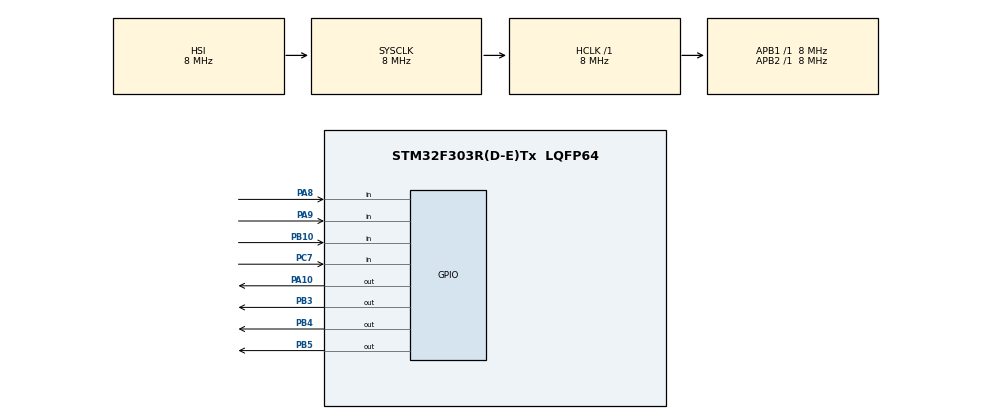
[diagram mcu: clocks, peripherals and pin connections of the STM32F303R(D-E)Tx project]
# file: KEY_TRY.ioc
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Mcu.Family=STM32F3
Mcu.Name=STM32F303R(D-E)Tx
Mcu.Package=LQFP64
NVIC.PriorityGroup=NVIC_PRIORITYGROUP_4
PA10.GPIO_PuPd=GPIO_NOPULL
PA10.Signal=GPIO_Output
PA8.GPIO_PuPd=GPIO_PULLDOWN
PA8.Signal=GPIO_Input
PA9.GPIO_PuPd=GPIO_PULLDOWN
PA9.Signal=GPIO_Input
PB10.GPIO_PuPd=GPIO_PULLDOWN
PB10.Signal=GPIO_Input
PB3.GPIO_PuPd=GPIO_NOPULL
PB3.Signal=GPIO_Output
PB4.GPIO_PuPd=GPIO_NOPULL
PB4.Signal=GPIO_Output
PB5.GPIO_PuPd=GPIO_NOPULL
PB5.Signal=GPIO_Output
PC7.GPIO_PuPd=GPIO_PULLDOWN
PC7.Signal=GPIO_Input
ProjectManager.HeapSize=0x200
ProjectManager.StackSize=0x400
ProjectManager.TargetToolchain=MDK-ARM V5
RCC.AHBFreq_Value=8000000
RCC.APB1Freq_Value=8000000
RCC.APB2Freq_Value=8000000
RCC.CortexFreq_Value=8000000
RCC.HSE_VALUE=8000000
RCC.HSI_VALUE=8000000
RCC.LSE_VALUE=32768
RCC.SYSCLKFreq_VALUE=8000000
RCC.USBFreq_Value=16000000
board=custom

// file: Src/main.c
/* USER CODE BEGIN Header */
/**
  ******************************************************************************
  * @file           : main.c
  * @brief          : Main program body
  ******************************************************************************
  ** This notice applies to any and all portions of this file
  * that are not between comment pairs USER CODE BEGIN and
  * USER CODE END. Other portions of this file, whether
  * inserted by the user or by software development tools
  * are owned by their respective copyright owners.
  *
  * COPYRIGHT(c) 2019 STMicroelectronics
  *
  * Redistribution and use in source and binary forms, with or without modification,
  * are permitted provided that the following conditions are met:
  *   1. Redistributions of source code must retain the above copyright notice,
  *      this list of conditions and the following disclaimer.
  *   2. Redistributions in binary form must reproduce the above copyright notice,
  *      this list of conditions and the following disclaimer in the documentation
  *      and/or other materials provided with the distribution.
  *   3. Neither the name of STMicroelectronics nor the names of its contributors
  *      may be used to endorse or promote products derived from this software
  *      without specific prior written permission.
  *
  * THIS SOFTWARE IS PROVIDED BY THE COPYRIGHT HOLDERS AND CONTRIBUTORS "AS IS"
  * AND ANY EXPRESS OR IMPLIED WARRANTIES, INCLUDING, BUT NOT LIMITED TO, THE
  * IMPLIED WARRANTIES OF MERCHANTABILITY AND FITNESS FOR A PARTICULAR PURPOSE ARE
  * DISCLAIMED. IN NO EVENT SHALL THE COPYRIGHT HOLDER OR CONTRIBUTORS BE LIABLE
  * FOR ANY DIRECT, INDIRECT, INCIDENTAL, SPECIAL, EXEMPLARY, OR CONSEQUENTIAL
  * DAMAGES (INCLUDING, BUT NOT LIMITED TO, PROCUREMENT OF SUBSTITUTE GOODS OR
  * SERVICES; LOSS OF USE, DATA, OR PROFITS; OR BUSINESS INTERRUPTION) HOWEVER
  * CAUSED AND ON ANY THEORY OF LIABILITY, WHETHER IN CONTRACT, STRICT LIABILITY,
  * OR TORT (INCLUDING NEGLIGENCE OR OTHERWISE) ARISING IN ANY WAY OUT OF THE USE
  * OF THIS SOFTWARE, EVEN IF ADVISED OF THE POSSIBILITY OF SUCH DAMAGE.
  *
  ******************************************************************************
  */
/* USER CODE END Header */

#include "main.h"

/* USER CODE BEGIN Includes */
#include "MY_Keypad4x4.h"
#include <stdbool.h>
/* USER CODE END Includes */

void SystemClock_Config(void);
static void MX_GPIO_Init(void);

/* USER CODE BEGIN 0 */
bool mySwitches[16];

/* USER CODE END 0 */

int main(void)
{
  /* USER CODE BEGIN 1 */
Keypad_WiresTypeDef myKeypadStruct;
  /* USER CODE END 1 */

  /* MCU Configuration--------------------------------------------------------*/

  /* Reset of all peripherals, Initializes the Flash interface and the Systick. */
  HAL_Init();

  /* Configure the system clock */
  SystemClock_Config();

  /* Initialize all configured peripherals */
  MX_GPIO_Init();
  /* USER CODE BEGIN 2 */
myKeypadStruct.IN0_Port = GPIOB;
myKeypadStruct.IN1_Port = GPIOA;
myKeypadStruct.IN2_Port = GPIOA;
myKeypadStruct.IN3_Port = GPIOC;

myKeypadStruct.OUT0_Port = GPIOA;
myKeypadStruct.OUT1_Port = GPIOB;
myKeypadStruct.OUT2_Port = GPIOB;
myKeypadStruct.OUT3_Port = GPIOB;

myKeypadStruct.IN0pin = GPIO_PIN_10;
myKeypadStruct.IN1pin = GPIO_PIN_8;
myKeypadStruct.IN2pin = GPIO_PIN_9;
myKeypadStruct.IN3pin = GPIO_PIN_7;
myKeypadStruct.OUT0pin = GPIO_PIN_10;
myKeypadStruct.OUT1pin = GPIO_PIN_3;
myKeypadStruct.OUT2pin = GPIO_PIN_5;
myKeypadStruct.OUT3pin = GPIO_PIN_4;

Keypad4x4_Init(&myKeypadStruct);
  /* USER CODE END 2 */

  /* Infinite loop */
  while (1)
  {

    /* USER CODE BEGIN 3 */
		Keypad4x4_ReadKeypad(mySwitches);
		HAL_Delay(100);
  }
  /* USER CODE END 3 */
}

void SystemClock_Config(void)
{
  RCC_OscInitTypeDef RCC_OscInitStruct = {0};
  RCC_ClkInitTypeDef RCC_ClkInitStruct = {0};

  /**Initializes the CPU, AHB and APB busses clocks
  */
  RCC_OscInitStruct.OscillatorType = RCC_OSCILLATORTYPE_HSI;
  RCC_OscInitStruct.HSIState = RCC_HSI_ON;
  RCC_OscInitStruct.HSICalibrationValue = RCC_HSICALIBRATION_DEFAULT;
  RCC_OscInitStruct.PLL.PLLState = RCC_PLL_NONE;
  if (HAL_RCC_OscConfig(&RCC_OscInitStruct) != HAL_OK)
  {
    Error_Handler();
  }
  /**Initializes the CPU, AHB and APB busses clocks
  */
  RCC_ClkInitStruct.ClockType = RCC_CLOCKTYPE_HCLK|RCC_CLOCKTYPE_SYSCLK
                              |RCC_CLOCKTYPE_PCLK1|RCC_CLOCKTYPE_PCLK2;
  RCC_ClkInitStruct.SYSCLKSource = RCC_SYSCLKSOURCE_HSI;
  RCC_ClkInitStruct.AHBCLKDivider = RCC_SYSCLK_DIV1;
  RCC_ClkInitStruct.APB1CLKDivider = RCC_HCLK_DIV1;
  RCC_ClkInitStruct.APB2CLKDivider = RCC_HCLK_DIV1;

  if (HAL_RCC_ClockConfig(&RCC_ClkInitStruct, FLASH_LATENCY_0) != HAL_OK)
  {
    Error_Handler();
  }
}

static void MX_GPIO_Init(void)
{
  GPIO_InitTypeDef GPIO_InitStruct = {0};

  /* GPIO Ports Clock Enable */
  __HAL_RCC_GPIOB_CLK_ENABLE();
  __HAL_RCC_GPIOC_CLK_ENABLE();
  __HAL_RCC_GPIOA_CLK_ENABLE();

  /*Configure GPIO pin Output Level */
  HAL_GPIO_WritePin(GPIOA, GPIO_PIN_10, GPIO_PIN_RESET);

  /*Configure GPIO pin Output Level */
  HAL_GPIO_WritePin(GPIOB, GPIO_PIN_3|GPIO_PIN_4|GPIO_PIN_5, GPIO_PIN_RESET);

  /*Configure GPIO pin : PB10 */
  GPIO_InitStruct.Pin = GPIO_PIN_10;
  GPIO_InitStruct.Mode = GPIO_MODE_INPUT;
  GPIO_InitStruct.Pull = GPIO_PULLDOWN;
  HAL_GPIO_Init(GPIOB, &GPIO_InitStruct);

  /*Configure GPIO pin : PC7 */
  GPIO_InitStruct.Pin = GPIO_PIN_7;
  GPIO_InitStruct.Mode = GPIO_MODE_INPUT;
  GPIO_InitStruct.Pull = GPIO_PULLDOWN;
  HAL_GPIO_Init(GPIOC, &GPIO_InitStruct);

  /*Configure GPIO pins : PA8 PA9 */
  GPIO_InitStruct.Pin = GPIO_PIN_8|GPIO_PIN_9;
  GPIO_InitStruct.Mode = GPIO_MODE_INPUT;
  GPIO_InitStruct.Pull = GPIO_PULLDOWN;
  HAL_GPIO_Init(GPIOA, &GPIO_InitStruct);

  /*Configure GPIO pin : PA10 */
  GPIO_InitStruct.Pin = GPIO_PIN_10;
  GPIO_InitStruct.Mode = GPIO_MODE_OUTPUT_PP;
  GPIO_InitStruct.Pull = GPIO_NOPULL;
  GPIO_InitStruct.Speed = GPIO_SPEED_FREQ_LOW;
  HAL_GPIO_Init(GPIOA, &GPIO_InitStruct);

  /*Configure GPIO pins : PB3 PB4 PB5 */
  GPIO_InitStruct.Pin = GPIO_PIN_3|GPIO_PIN_4|GPIO_PIN_5;
  GPIO_InitStruct.Mode = GPIO_MODE_OUTPUT_PP;
  GPIO_InitStruct.Pull = GPIO_NOPULL;
  GPIO_InitStruct.Speed = GPIO_SPEED_FREQ_LOW;
  HAL_GPIO_Init(GPIOB, &GPIO_InitStruct);

}

void Error_Handler(void)
{
}

/************************ (C) COPYRIGHT STMicroelectronics *****END OF FILE****/
